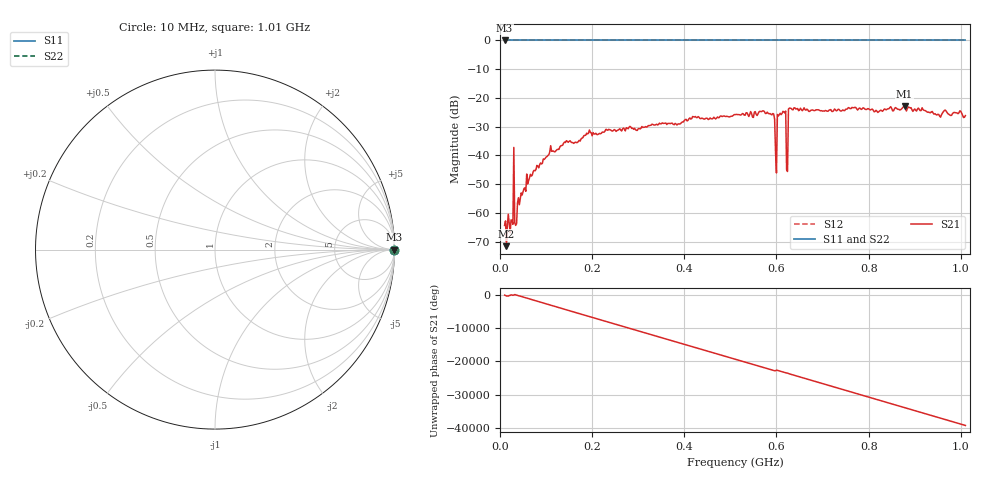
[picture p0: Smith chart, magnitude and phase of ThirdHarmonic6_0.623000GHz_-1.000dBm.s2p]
! 8/15/2025 8:30:42 PM
! C:\ANRITSUVNA\TEMP\TEMP.S2P
! CHANNEL.1
! TR.MEASUREMENT
! RAW.DATA
! RF.CORRECTION.OFF
! AVERAGING.OFF
! IF.BANDWIDTH: 5KHZ
! SWEEPTYPE:  FREQ.SWEEP(Linear)
! Reference Plane Port Info
! PORT:  PORT1  PORT2
! DISTANCE:  0  m  0  m
! TIME:  0  s  0  s
! PHASE.OFFSET:  0  deg.  0  deg.
! LOSS:  0  dB  0  dB
! REF.LOSS:  0  dB  0  dB
! REF.FREQ:  0  Hz  0  Hz
! Power Info
! POWER:  -20  dBm  -20  dBm
! EFF.POWER:  -20  dBm  -20  dBm
! SOURCE.ATTEN:  0  dB  0  dB
! TEST.ATTEN:  0  dB  0  dB
# GHZ S RI R 50.0
! FREQ.GHZ  S11RE  S11IM  S21RE  S21IM  S12RE  S12IM  S22RE  S22IM
!; PortSelection: Port_12
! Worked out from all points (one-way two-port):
!   501 points, 10 MHz to 1.01 GHz, reference 50 ohm
!   highest |S21| = -22.90 dB at 878 MHz (marker M1); lowest = -71.6 dB at 14 MHz (marker M2)
!   lowest |S11| = 0.0 dB at 10 MHz (marker M3)
!   |S11| at or under -10 dB: nowhere
!   |S22| runs from 0.0 to 0.0 dB; largest |S21 - S12| = 1.1
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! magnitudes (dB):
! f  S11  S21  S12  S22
! 10 MHz  0.0  -64.4  0.0  0.0
! 14 MHz  0.0  -71.6  0.0  0.0
! 24 MHz  0.0  -62.5  0.0  0.0
! 28 MHz  0.0  -64.0  0.0  0.0
! 34 MHz  0.0  -64.4  0.0  0.0
! 36 MHz  0.0  -63.8  0.0  0.0
! 62 MHz  0.0  -48.8  0.0  0.0
! 106 MHz  0.0  -39.8  0.0  0.0
! 178 MHz  0.0  -34.0  0.0  0.0
! 344 MHz  0.0  -29.2  0.0  0.0
! 510 MHz  0.0  -25.8  0.0  0.0
! 590 MHz  0.0  -25.9  0.0  0.0
! 600 MHz  0.0  -46.1  0.0  0.0
! 606 MHz  0.0  -25.8  0.0  0.0
! 616 MHz  0.0  -24.8  0.0  0.0
! 620 MHz  0.0  -24.6  0.0  0.0
! 626 MHz  0.0  -23.9  0.0  0.0
! 630 MHz  0.0  -23.6  0.0  0.0
! 678 MHz  0.0  -24.2  0.0  0.0
! 844 MHz  0.0  -23.8  0.0  0.0
! 878 MHz  0.0  -22.9  0.0  0.0
! 1.01 GHz  0.0  -26.1  0.0  0.0
